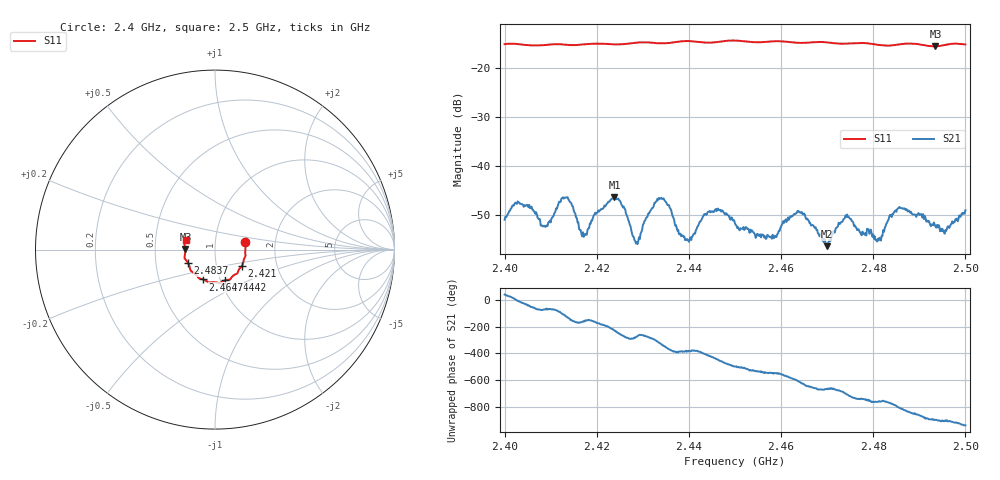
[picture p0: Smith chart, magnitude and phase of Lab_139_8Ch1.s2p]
# Hz S RI R 50
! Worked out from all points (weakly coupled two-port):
!   601 points, 2.4 GHz to 2.5 GHz, reference 50 ohm
!   highest |S21| = -46.31 dB at 2.4238 GHz (marker M1); lowest = -56.3 dB at 2.47 GHz (marker M2)
!   lowest |S11| = -15.6 dB at 2.4935 GHz (marker M3), VSWR 1.40, Z = 35.8 + j0.197 ohm
!   |S11| at or under -10 dB: start of sweep to end of sweep
!   S12 and S22 are empty: the file has one direction only
!   S11 on the Smith chart (normalised r, x): 2.4 GHz: 1.40, +0.12; 2.421 GHz: 1.33, -0.24; 2.4442 GHz: 1.05, -0.37; 2.4647 GHz: 0.83, -0.28; 2.4837 GHz: 0.73, -0.11; 2.5 GHz: 0.71, +0.08
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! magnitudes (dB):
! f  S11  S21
! 2.4 GHz  -15.2  -51.0
! 2.4033 GHz  -15.2  -47.7
! 2.4088 GHz  -15.4  -52.4
! 2.4132 GHz  -15.3  -46.5
! 2.4167 GHz  -15.3  -53.8
! 2.421 GHz  -15.1  -48.7
! 2.4238 GHz  -15.2  -46.3
! 2.4287 GHz  -14.9  -55.5
! 2.4333 GHz  -15.0  -46.9
! 2.4397 GHz  -14.6  -54.9
! 2.4442 GHz  -14.9  -49.3
! 2.45 GHz  -14.5  -51.7
! 2.4585 GHz  -14.6  -54.7
! 2.4647 GHz  -14.9  -49.8
! 2.4667 GHz  -14.8  -52.1
! 2.47 GHz  -14.8  -56.3
! 2.4742 GHz  -15.1  -50.4
! 2.4812 GHz  -15.4  -55.2
! 2.4833 GHz  -15.5  -50.9
! 2.4837 GHz  -15.5  -50.0
! 2.4935 GHz  -15.6  -52.3
! 2.5 GHz  -15.3  -49.0
